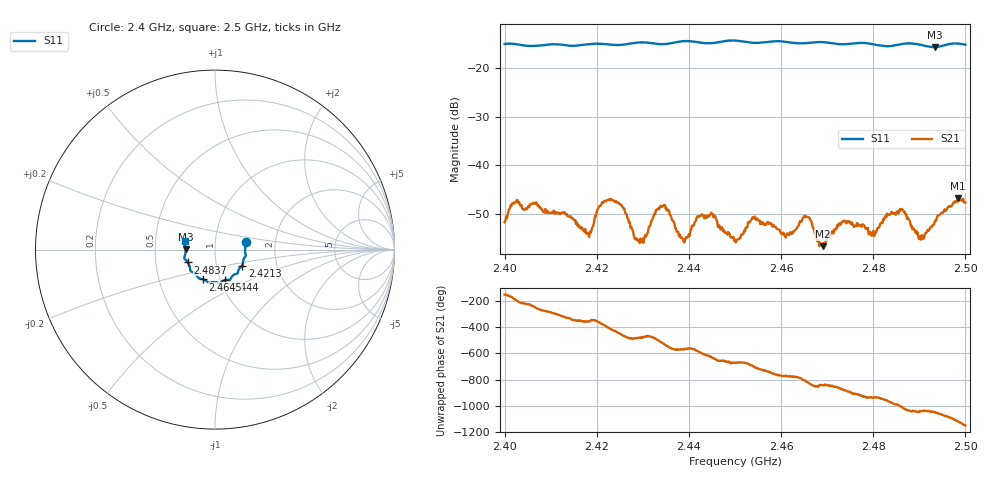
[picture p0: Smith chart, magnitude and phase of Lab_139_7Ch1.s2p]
# Hz S RI R 50
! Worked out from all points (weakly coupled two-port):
!   601 points, 2.4 GHz to 2.5 GHz, reference 50 ohm
!   highest |S21| = -46.74 dB at 2.4983 GHz (marker M1); lowest = -56.6 dB at 2.469 GHz (marker M2)
!   lowest |S11| = -15.7 dB at 2.4933 GHz (marker M3), VSWR 1.39, Z = 36 + j0.1 ohm
!   |S11| at or under -10 dB: start of sweep to end of sweep
!   S12 and S22 are empty: the file has one direction only
!   S11 on the Smith chart (normalised r, x): 2.4 GHz: 1.41, +0.12; 2.4213 GHz: 1.33, -0.25; 2.444 GHz: 1.06, -0.37; 2.4645 GHz: 0.83, -0.29; 2.4837 GHz: 0.73, -0.11; 2.5 GHz: 0.71, +0.07
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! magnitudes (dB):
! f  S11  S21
! 2.4 GHz  -15.1  -51.7
! 2.4065 GHz  -15.5  -47.8
! 2.4167 GHz  -15.3  -52.8
! 2.4185 GHz  -15.1  -53.6
! 2.4213 GHz  -15.1  -47.7
! 2.4253 GHz  -15.3  -48.1
! 2.4293 GHz  -14.8  -55.9
! 2.4333 GHz  -15.1  -48.9
! 2.4387 GHz  -14.5  -55.1
! 2.444 GHz  -15.0  -50.3
! 2.45 GHz  -14.4  -55.2
! 2.4538 GHz  -14.8  -50.6
! 2.4612 GHz  -14.7  -54.1
! 2.4645 GHz  -15.0  -51.5
! 2.4667 GHz  -14.8  -51.8
! 2.469 GHz  -14.7  -56.6
! 2.4833 GHz  -15.6  -50.1
! 2.4837 GHz  -15.5  -50.0
! 2.4903 GHz  -15.3  -55.2
! 2.4933 GHz  -15.7  -51.6
! 2.4983 GHz  -15.0  -46.7
! 2.5 GHz  -15.2  -47.6
